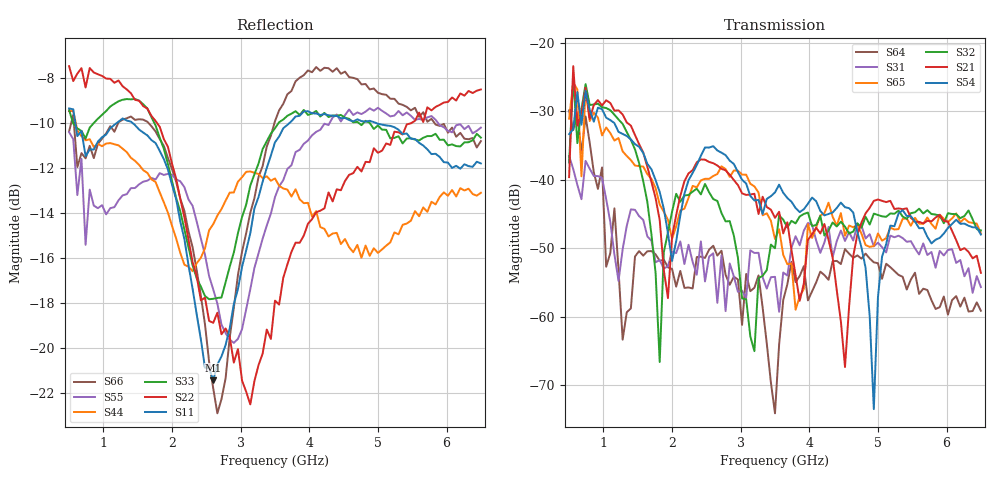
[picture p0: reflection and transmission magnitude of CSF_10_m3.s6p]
!Keysight Technologies,M9804A,MY58100912,A.14.10.03
!Date: Thursday, April 27, 2023 10:28:33
!Correction: S11(C  6-Port  )
!S12(C  6-Port  )
!S13(C  6-Port  )
!S14(C  6-Port  )
!S15(C  6-Port  )
!S16(C  6-Port  )
!S21(C  6-Port  )
!S22(C  6-Port  )
!S23(C  6-Port  )
!S24(C  6-Port  )
!S25(C  6-Port  )
!S26(C  6-Port  )
!S31(C  6-Port  )
!S32(C  6-Port  )
!S33(C  6-Port  )
!S34(C  6-Port  )
!S35(C  6-Port  )
!S36(C  6-Port  )
!S41(C  6-Port  )
!S42(C  6-Port  )
!S43(C  6-Port  )
!S44(C  6-Port  )
!S45(C  6-Port  )
!S46(C  6-Port  )
!S51(C  6-Port  )
!S52(C  6-Port  )
!S53(C  6-Port  )
!S54(C  6-Port  )
!S55(C  6-Port  )
!S56(C  6-Port  )
!S61(C  6-Port  )
!S62(C  6-Port  )
!S63(C  6-Port  )
!S64(C  6-Port  )
!S65(C  6-Port  )
!S66(C  6-Port  )
!S6P File: Measurement: :
# Hz S  RI  R 50
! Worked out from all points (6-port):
!   101 points, 500 MHz to 6.5 GHz, reference 50 ohm
!   strongest paths, dB at 500 MHz, 2 GHz, 3.5 GHz, 5 GHz, 6.5 GHz:
!     S54: -33.3, -51.9, -41.8, -57.2, -48.0
!     S21: -39.6, -48.3, -45.6, -42.9, -53.6
!     S32: -37.5, -44.7, -50.0, -45.1, -47.4
!     S65: -31.1, -48.6, -48.6, -47.8, -47.8
!     S31: -36.5, -50.5, -54.2, -49.2, -55.7
!     S64: -29.9, -53.0, -74.1, -52.2, -59.1
!   lowest |S11| = -21.4 dB at 2.6 GHz (marker M1), VSWR 1.19, Z = 42.5 + j2.17 ohm
!   |S11| at or under -10 dB: 590.3 MHz to 1.197 GHz (606.5 MHz wide, 67.9 % of centre); 1.422 GHz to 3.714 GHz (2.292 GHz wide, 89.3 % of centre); 4.967 GHz to end of sweep
